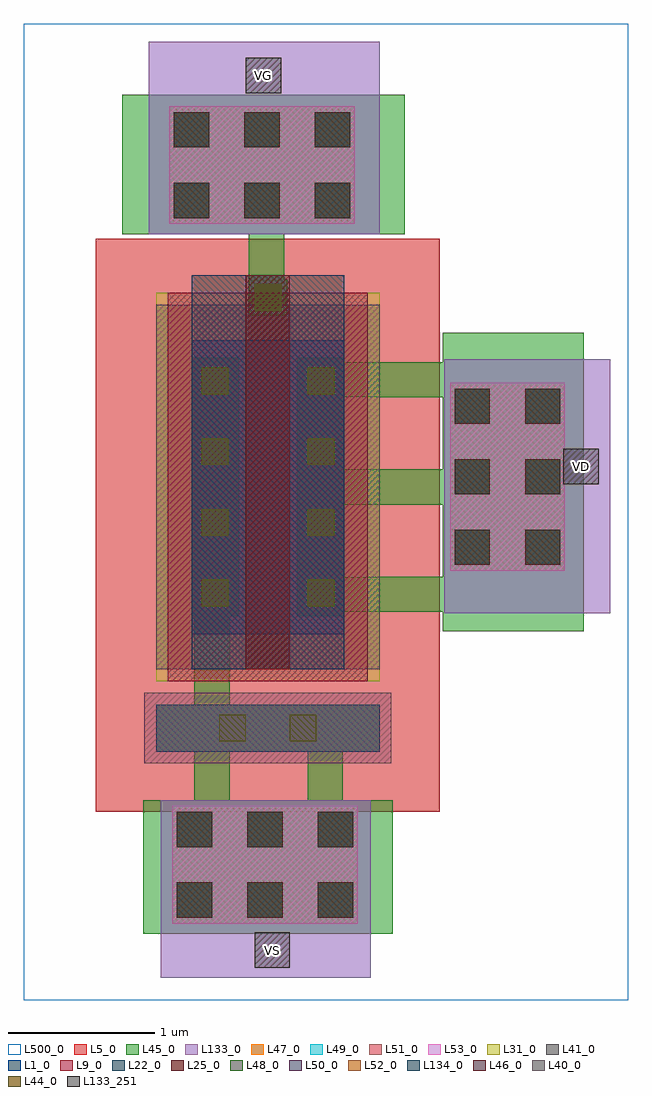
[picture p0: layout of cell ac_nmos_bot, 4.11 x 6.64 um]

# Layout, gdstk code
import gdstk
lib = gdstk.Library(unit=1e-6, precision=1e-09)
def R(c, l, rs):  # rectangles x0, y0, x1, y1
    for r in rs: c.add(gdstk.rectangle(r[:2], r[2:], *l))
def A(c, l, x, y, w, h, nx, ny, dx, dy):  # array of equal rectangles
    R(c, l, [(x+i*dx, y+j*dy, x+i*dx+w, y+j*dy+h) for i in range(nx) for j in range(ny)])
L1_0 = (1, 0)
L5_0 = (5, 0)
L9_0 = (9, 0)
L22_0 = (22, 0)
L25_0 = (25, 0)
L31_0 = (31, 0)
L40_0 = (40, 0)
L41_0 = (41, 0)
L44_0 = (44, 0)
L45_0 = (45, 0)
L46_0 = (46, 0)
L47_0 = (47, 0)
L48_0 = (48, 0)
L49_0 = (49, 0)
L50_0 = (50, 0)
L51_0 = (51, 0)
L52_0 = (52, 0)
L53_0 = (53, 0)
L133_0 = (133, 0)
L133_251 = (133, 251)
L134_0 = (134, 0)
L500_0 = (500, 0)

abutcontact_cdns_4468077 = lib.new_cell('AbutContact_CDNS_446807797401')
R(abutcontact_cdns_4468077, L1_0, [(-0.13,-0.03,1.39,0.29)])
R(abutcontact_cdns_4468077, L44_0, [(0.3,0.04,0.48,0.22), (0.78,0.04,0.96,0.22)])
R(abutcontact_cdns_4468077, L45_0, [(-0.13,-0.03,1.39,0.29)])

nmos_hs_4_cdns_446807797 = lib.new_cell('nmos_hs_4_CDNS_446807797400')
R(nmos_hs_4_cdns_446807797, L1_0, [(-0.37,0,0,2), (0,0,0.3,2), (0.3,0,0.67,2), (-0.37,0.12,-0.05,1.88), (0.35,0.12,0.67,1.88)])
R(nmos_hs_4_cdns_446807797, L5_0, [(-1.02,-1.21,1.32,2.69), (-0.77,-0.96,1.07,2.32)])
R(nmos_hs_4_cdns_446807797, L9_0, [(-0.53,-0.32,0.83,2.32)])
R(nmos_hs_4_cdns_446807797, L22_0, [(-0.37,-0.24,0.67,2.44)])
R(nmos_hs_4_cdns_446807797, L25_0, [(0,-0.24,0.3,0), (0,-0.24,0.3,2.24), (0,2,0.3,2.24), (0,2.14,0.3,2.44), (0,2.14,0.3,2.44)])
R(nmos_hs_4_cdns_446807797, L31_0, [(-0.61,-0.32,0.91,2.32)])
R(nmos_hs_4_cdns_446807797, L40_0, [(-0.69,-0.88,0.99,-0.4)])
R(nmos_hs_4_cdns_446807797, L41_0, [(-0.61,-0.24,0.91,2.24)])
A(nmos_hs_4_cdns_446807797, L44_0, -0.3, 0.19, 0.18, 0.18, 1, 4, 0, 0.48)
A(nmos_hs_4_cdns_446807797, L44_0, 0.42, 0.19, 0.18, 0.18, 1, 4, 0, 0.48)
R(nmos_hs_4_cdns_446807797, L44_0, [(0.06,2.2,0.24,2.38)])
R(nmos_hs_4_cdns_446807797, L45_0, [(-0.61,-0.8,0.91,-0.48), (-0.37,0.12,-0.05,1.88), (0.35,0.12,0.67,1.88), (0.02,2.17,0.28,2.41)])
nmos_hs_4_cdns_446807797.add(gdstk.Reference(abutcontact_cdns_4468077, (-0.48,-0.77)))

m2_m3_cdns_446807797400 = lib.new_cell('M2_M3_CDNS_446807797400')
R(m2_m3_cdns_446807797400, L47_0, [(-0.63,-0.4,0.63,0.4)])
A(m2_m3_cdns_446807797400, L48_0, -0.6, -0.36, 0.24, 0.24, 3, 2, 0.48, 0.48)
R(m2_m3_cdns_446807797400, L49_0, [(-0.63,-0.4,0.63,0.4)])

m3_m4_cdns_446807797401 = lib.new_cell('M3_M4_CDNS_446807797401')
R(m3_m4_cdns_446807797401, L49_0, [(-0.63,-0.4,0.63,0.4)])
A(m3_m4_cdns_446807797401, L50_0, -0.6, -0.36, 0.24, 0.24, 3, 2, 0.48, 0.48)
R(m3_m4_cdns_446807797401, L51_0, [(-0.63,-0.4,0.63,0.4)])

m4_m5_cdns_446807797402 = lib.new_cell('M4_M5_CDNS_446807797402')
R(m4_m5_cdns_446807797402, L51_0, [(-0.63,-0.4,0.63,0.4)])
A(m4_m5_cdns_446807797402, L52_0, -0.6, -0.36, 0.24, 0.24, 3, 2, 0.48, 0.48)
R(m4_m5_cdns_446807797402, L53_0, [(-0.63,-0.4,0.63,0.4)])

m5_m1_top_cdns_446807797 = lib.new_cell('M5_M1_top_CDNS_446807797403')
R(m5_m1_top_cdns_446807797, L53_0, [(-0.63,-0.4,0.63,0.4)])
R(m5_m1_top_cdns_446807797, L133_0, [(-0.63,-0.4,0.63,0.4)])
A(m5_m1_top_cdns_446807797, L134_0, -0.6, -0.36, 0.24, 0.24, 3, 2, 0.48, 0.48)

m1_m2_cdns_446807797404 = lib.new_cell('M1_M2_CDNS_446807797404')
R(m1_m2_cdns_446807797404, L45_0, [(-0.63,-0.4,0.63,0.4)])
A(m1_m2_cdns_446807797404, L46_0, -0.6, -0.36, 0.24, 0.24, 3, 2, 0.48, 0.48)
R(m1_m2_cdns_446807797404, L47_0, [(-0.63,-0.4,0.63,0.4)])

c_m5_m1_top_cdns_446807797 = lib.new_cell('M5_M1_top_CDNS_446807797405')
R(c_m5_m1_top_cdns_446807797, L53_0, [(-0.39,-0.64,0.39,0.64)])
R(c_m5_m1_top_cdns_446807797, L133_0, [(-0.39,-0.64,0.39,0.64)])
A(c_m5_m1_top_cdns_446807797, L134_0, -0.36, -0.6, 0.24, 0.24, 1, 3, 0, 0.48)
A(c_m5_m1_top_cdns_446807797, L134_0, 0.12, -0.6, 0.24, 0.24, 1, 3, 0, 0.48)

m4_m5_cdns_446807797406 = lib.new_cell('M4_M5_CDNS_446807797406')
R(m4_m5_cdns_446807797406, L51_0, [(-0.39,-0.64,0.39,0.64)])
A(m4_m5_cdns_446807797406, L52_0, -0.36, -0.6, 0.24, 0.24, 1, 3, 0, 0.48)
A(m4_m5_cdns_446807797406, L52_0, 0.12, -0.6, 0.24, 0.24, 1, 3, 0, 0.48)
R(m4_m5_cdns_446807797406, L53_0, [(-0.39,-0.64,0.39,0.64)])

m3_m4_cdns_446807797407 = lib.new_cell('M3_M4_CDNS_446807797407')
R(m3_m4_cdns_446807797407, L49_0, [(-0.39,-0.64,0.39,0.64)])
A(m3_m4_cdns_446807797407, L50_0, -0.36, -0.6, 0.24, 0.24, 1, 3, 0, 0.48)
A(m3_m4_cdns_446807797407, L50_0, 0.12, -0.6, 0.24, 0.24, 1, 3, 0, 0.48)
R(m3_m4_cdns_446807797407, L51_0, [(-0.39,-0.64,0.39,0.64)])

m2_m3_cdns_446807797408 = lib.new_cell('M2_M3_CDNS_446807797408')
R(m2_m3_cdns_446807797408, L47_0, [(-0.39,-0.64,0.39,0.64)])
A(m2_m3_cdns_446807797408, L48_0, -0.36, -0.6, 0.24, 0.24, 1, 3, 0, 0.48)
A(m2_m3_cdns_446807797408, L48_0, 0.12, -0.6, 0.24, 0.24, 1, 3, 0, 0.48)
R(m2_m3_cdns_446807797408, L49_0, [(-0.39,-0.64,0.39,0.64)])

m1_m2_cdns_446807797409 = lib.new_cell('M1_M2_CDNS_446807797409')
R(m1_m2_cdns_446807797409, L45_0, [(-0.39,-0.64,0.39,0.64)])
A(m1_m2_cdns_446807797409, L46_0, -0.36, -0.6, 0.24, 0.24, 1, 3, 0, 0.48)
A(m1_m2_cdns_446807797409, L46_0, 0.12, -0.6, 0.24, 0.24, 1, 3, 0, 0.48)
R(m1_m2_cdns_446807797409, L47_0, [(-0.39,-0.64,0.39,0.64)])

ac_nmos_bot = lib.new_cell('ac_nmos_bot')
R(ac_nmos_bot, L45_0, [(0.82,0.76,2.52,1.67), (2.86,2.82,3.82,4.85), (0.68,5.52,2.6,6.47)])
R(ac_nmos_bot, L133_0, [(0.94,0.46,2.37,1.67), (2.87,2.94,4,4.67), (0.86,5.52,2.43,6.83)])
R(ac_nmos_bot, L133_251, [(1.58,0.53,1.82,0.77), (3.68,3.82,3.92,4.06), (1.52,6.48,1.76,6.72)])
R(ac_nmos_bot, L500_0, [(0.01,0.31,4.12,6.95)])
ac_nmos_bot.add(gdstk.FlexPath([(1.29,3.15),(1.29,2.05)], 0.24, ends="flush", simple_path=True, layer=45, datatype=0))  # L45_0
ac_nmos_bot.add(gdstk.FlexPath([(1.66,4.98),(1.66,5.87)], 0.24, ends="flush", simple_path=True, layer=45, datatype=0))  # L45_0
ac_nmos_bot.add(gdstk.FlexPath([(2.06,2.32),(2.06,1.52)], 0.24, ends="flush", simple_path=True, layer=45, datatype=0))  # L45_0
ac_nmos_bot.add(gdstk.FlexPath([(1.94,3.8),(3.27,3.8)], 0.24, ends="flush", simple_path=True, layer=45, datatype=0))  # L45_0
ac_nmos_bot.add(gdstk.FlexPath([(1.94,4.53),(3.25,4.53)], 0.24, ends="flush", simple_path=True, layer=45, datatype=0))  # L45_0
ac_nmos_bot.add(gdstk.FlexPath([(1.94,3.07),(3.3,3.07)], 0.24, ends="flush", simple_path=True, layer=45, datatype=0))  # L45_0
ac_nmos_bot.add(gdstk.FlexPath([(1.29,2.31),(1.29,1.51)], 0.24, ends="flush", simple_path=True, layer=45, datatype=0))  # L45_0
ac_nmos_bot.add(gdstk.Reference(nmos_hs_4_cdns_446807797, (1.52,2.8)))
ac_nmos_bot.add(gdstk.Reference(m2_m3_cdns_446807797400, (1.65,1.23)))
ac_nmos_bot.add(gdstk.Reference(m2_m3_cdns_446807797400, (1.63,5.99)))
ac_nmos_bot.add(gdstk.Reference(m3_m4_cdns_446807797401, (1.65,1.23)))
ac_nmos_bot.add(gdstk.Reference(m3_m4_cdns_446807797401, (1.63,5.99)))
ac_nmos_bot.add(gdstk.Reference(m4_m5_cdns_446807797402, (1.65,1.23)))
ac_nmos_bot.add(gdstk.Reference(m4_m5_cdns_446807797402, (1.63,5.99)))
ac_nmos_bot.add(gdstk.Reference(m5_m1_top_cdns_446807797, (1.65,1.23)))
ac_nmos_bot.add(gdstk.Reference(m5_m1_top_cdns_446807797, (1.63,5.99)))
ac_nmos_bot.add(gdstk.Reference(m1_m2_cdns_446807797404, (1.65,1.23)))
ac_nmos_bot.add(gdstk.Reference(m1_m2_cdns_446807797404, (1.63,5.99)))
ac_nmos_bot.add(gdstk.Reference(c_m5_m1_top_cdns_446807797, (3.3,3.87)))
ac_nmos_bot.add(gdstk.Reference(m4_m5_cdns_446807797406, (3.3,3.87)))
ac_nmos_bot.add(gdstk.Reference(m3_m4_cdns_446807797407, (3.3,3.87)))
ac_nmos_bot.add(gdstk.Reference(m2_m3_cdns_446807797408, (3.3,3.87)))
ac_nmos_bot.add(gdstk.Reference(m1_m2_cdns_446807797409, (3.3,3.87)))
ac_nmos_bot.add(gdstk.Label('VG', (1.64,6.6), layer=133, texttype=251))
ac_nmos_bot.add(gdstk.Label('VS', (1.7,0.65), layer=133, texttype=251))
ac_nmos_bot.add(gdstk.Label('VD', (3.8,3.94), layer=133, texttype=251))

lib.write_gds('ac_nmos_bot.gds')
